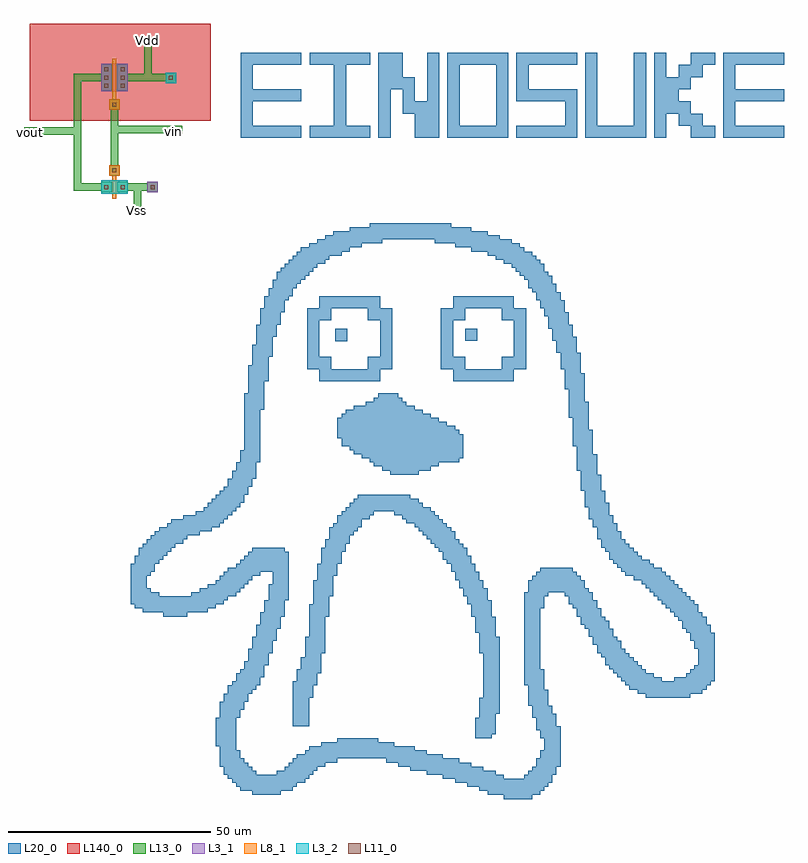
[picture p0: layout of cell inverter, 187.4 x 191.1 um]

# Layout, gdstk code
import gdstk
lib = gdstk.Library(unit=1e-6, precision=1e-07)
def R(c, l, rs):  # rectangles x0, y0, x1, y1
    for r in rs: c.add(gdstk.rectangle(r[:2], r[2:], *l))
def A(c, l, x, y, w, h, nx, ny, dx, dy):  # array of equal rectangles
    R(c, l, [(x+i*dx, y+j*dy, x+i*dx+w, y+j*dy+h) for i in range(nx) for j in range(ny)])
def P(c, l, *ps):  # polygons
    for p in ps: c.add(gdstk.Polygon(p, *l))
L3_1 = (3, 1)
L3_2 = (3, 2)
L8_1 = (8, 1)
L11_0 = (11, 0)
L13_0 = (13, 0)
L20_0 = (20, 0)
L140_0 = (140, 0)

fet_p = lib.new_cell('fet_p')
R(fet_p, L3_1, [(-3.3,-3.4,3.3,3.4)])
A(fet_p, L11_0, -2.5, -2.5, 1, 1, 1, 3, 0, 2)
A(fet_p, L11_0, 1.5, -2.5, 1, 1, 1, 3, 0, 2)
R(fet_p, L13_0, [(-3.3,-3.3,-0.7,3.3), (0.7,-3.3,3.3,3.3)])
fet_p.add(gdstk.FlexPath([(0,-4.6),(0,4.6)], 1, ends="flush", simple_path=True, layer=8, datatype=1))  # L8_1

cont_n = lib.new_cell('cont_n')
R(cont_n, L3_2, [(-1.3,-1.3,1.3,1.3)])
R(cont_n, L11_0, [(-0.5,-0.5,0.5,0.5)])
R(cont_n, L13_0, [(-1.3,-1.3,1.3,1.3)])

fet_n = lib.new_cell('fet_n')
R(fet_n, L3_2, [(-3.3,-1.7,3.3,1.7)])
R(fet_n, L11_0, [(-2.5,-0.5,-1.5,0.5), (1.5,-0.5,2.5,0.5)])
R(fet_n, L13_0, [(-3.3,-1.3,-0.7,1.3), (0.7,-1.3,3.3,1.3)])
fet_n.add(gdstk.FlexPath([(0,-2.9),(0,2.9)], 1, ends="flush", simple_path=True, layer=8, datatype=1))  # L8_1

cont_g = lib.new_cell('cont_g')
R(cont_g, L8_1, [(-1.3,-1.3,1.3,1.3)])
R(cont_g, L11_0, [(-0.5,-0.5,0.5,0.5)])
R(cont_g, L13_0, [(-1.3,-1.3,1.3,1.3)])

cont_p = lib.new_cell('cont_p')
R(cont_p, L3_1, [(-1.3,-1.3,1.3,1.3)])
R(cont_p, L11_0, [(-0.5,-0.5,0.5,0.5)])
R(cont_p, L13_0, [(-1.3,-1.3,1.3,1.3)])

svg_metal2_art = lib.new_cell('SVG_METAL2_ART')
R(svg_metal2_art, L20_0, [(-10,20,-7,23), (-21.6,41.9,-18.6,44.9), (10.5,42,13.5,45)])
P(svg_metal2_art, L20_0, [(7.5,32),(7.5,35),(4.5,35),(4.5,50),(10.5,50),(10.5,47),(7.5,47),(7.5,38),(10.5,38),(10.5,35),(19.5,35),(19.5,38),(22.5,38),(22.5,47),(19.5,47),(19.5,50),(7.5,50),(7.5,53),(22.5,53),(22.5,50),(25.5,50),(25.5,35),(22.5,35),(22.5,32)],
  [(-25.5,32),(-25.5,35),(-28.5,35),(-28.5,50),(-22.5,50),(-22.5,47),(-25.5,47),(-25.5,38),(-22.5,38),(-22.5,35),(-13.5,35),(-13.5,38),(-10.5,38),(-10.5,47),(-13.5,47),(-13.5,50),(-25.5,50),(-25.5,53),(-10.5,53),(-10.5,50),(-7.5,50),(-7.5,35),(-10.5,35),(-10.5,32)],
  [(13,-56),(13,-51),(14,-51),(14,-46),(15,-46),(15,-35),(14,-35),(14,-30),(13,-30),(13,-26),(12,-26),(12,-23),(11,-23),(11,-21),(10,-21),(10,-19),(9,-19),(9,-17),(8,-17),(8,-15),(7,-15),(7,-13),(6,-13),(6,-12),(5,-12),(5,-10),(4,-10),(4,-9),(3,-9),(3,-8),(2,-8),(2,-7),(1,-7),(1,-6),(0,-6),(0,-5),(-1,-5),(-1,-4),(-2,-4),(-2,-3),(-4,-3),(-4,-2),(-5,-2),(-5,-1),(-7,-1),(-7,0),(-12,0),(-12,-1),(-13,-1),(-13,-2),(-15,-2),(-15,-4),(-16,-4),(-16,-5),(-17,-5),(-17,-6),(-18,-6),(-18,-8),(-19,-8),(-19,-10),(-20,-10),(-20,-13),(-21,-13),(-21,-16),(-22,-16),(-22,-21),(-23,-21),(-23,-26),(-24,-26),(-24,-35),(-25,-35),(-25,-40),(-26,-40),(-26,-43),(-27,-43),(-27,-46),(-28,-46),(-28,-53),(-32,-53),(-32,-42),(-31,-42),(-31,-39),(-30,-39),(-30,-36),(-29,-36),(-29,-31),(-28,-31),(-28,-23),(-27,-23),(-27,-17),(-26,-17),(-26,-13),(-25,-13),(-25,-9),(-24,-9),(-24,-7),(-23,-7),(-23,-4),(-22,-4),(-22,-3),(-21,-3),(-21,-1),(-20,-1),(-20,0),(-19,0),(-19,1),(-18,1),(-18,2),(-17,2),(-17,3),(-16,3),(-16,4),(-3,4),(-3,3),(-1,3),(-1,2),(0,2),(0,1),(2,1),(2,0),(3,0),(3,-1),(4,-1),(4,-2),(5,-2),(5,-3),(6,-3),(6,-4),(7,-4),(7,-5),(8,-5),(8,-7),(9,-7),(9,-8),(10,-8),(10,-9),(11,-9),(11,-11),(12,-11),(12,-13),(13,-13),(13,-15),(14,-15),(14,-17),(15,-17),(15,-19),(16,-19),(16,-22),(17,-22),(17,-26),(18,-26),(18,-31),(19,-31),(19,-50),(18,-50),(18,-55),(17,-55),(17,-56)],
  [(-8,9),(-8,10),(-10,10),(-10,11),(-12,11),(-12,12),(-13,12),(-13,13),(-15,13),(-15,14),(-17,14),(-17,15),(-18,15),(-18,16),(-20,16),(-20,18),(-21,18),(-21,23),(-10,23),(-10,20),(-7,20),(-7,23),(-20,23),(-20,24),(-19,24),(-19,25),(-17,25),(-17,26),(-14,26),(-14,27),(-12,27),(-12,28),(-11,28),(-11,29),(-6,29),(-6,28),(-5,28),(-5,27),(-4,27),(-4,26),(-2,26),(-2,25),(0,25),(0,24),(2,24),(2,23),(4,23),(4,22),(6,22),(6,21),(8,21),(8,20),(9,20),(9,19),(10,19),(10,13),(9,13),(9,12),(4,12),(4,11),(2,11),(2,10),(-1,10),(-1,9)],
  [(20,-71),(20,-70),(16,-70),(16,-69),(14,-69),(14,-68),(11,-68),(11,-67),(8,-67),(8,-66),(5,-66),(5,-65),(1,-65),(1,-64),(-3,-64),(-3,-63),(-6,-63),(-6,-62),(-9,-62),(-9,-61),(-21,-61),(-21,-62),(-24,-62),(-24,-63),(-26,-63),(-26,-64),(-27,-64),(-27,-65),(-28,-65),(-28,-66),(-29,-66),(-29,-67),(-31,-67),(-31,-68),(-32,-68),(-32,-69),(-35,-69),(-35,-70),(-42,-70),(-42,-69),(-45,-69),(-45,-68),(-46,-68),(-46,-67),(-47,-67),(-47,-66),(-48,-66),(-48,-65),(-49,-65),(-49,-63),(-50,-63),(-50,-58),(-51,-58),(-51,-51),(-50,-51),(-50,-47),(-49,-47),(-49,-45),(-48,-45),(-48,-43),(-47,-43),(-47,-42),(-46,-42),(-46,-40),(-45,-40),(-45,-39),(-44,-39),(-44,-37),(-43,-37),(-43,-34),(-42,-34),(-42,-31),(-41,-31),(-41,-28),(-40,-28),(-40,-25),(-39,-25),(-39,-22),(-38,-22),(-38,-18),(-37,-18),(-37,-15),(-40,-15),(-40,-16),(-42,-16),(-42,-17),(-43,-17),(-43,-18),(-44,-18),(-44,-19),(-45,-19),(-45,-20),(-46,-20),(-46,-21),(-48,-21),(-48,-22),(-49,-22),(-49,-23),(-51,-23),(-51,-24),(-53,-24),(-53,-25),(-58,-25),(-58,-26),(-64,-26),(-64,-25),(-69,-25),(-69,-24),(-71,-24),(-71,-23),(-72,-23),(-72,-13),(-71,-13),(-71,-11),(-70,-11),(-70,-9),(-69,-9),(-69,-8),(-68,-8),(-68,-7),(-67,-7),(-67,-6),(-66,-6),(-66,-5),(-65,-5),(-65,-4),(-63,-4),(-63,-3),(-62,-3),(-62,-2),(-59,-2),(-59,-1),(-56,-1),(-56,0),(-54,0),(-54,1),(-53,1),(-53,2),(-52,2),(-52,3),(-51,3),(-51,4),(-50,4),(-50,5),(-49,5),(-49,6),(-48,6),(-48,8),(-47,8),(-47,10),(-46,10),(-46,12),(-45,12),(-45,15),(-44,15),(-44,29),(-43,29),(-43,36),(-42,36),(-42,41),(-41,41),(-41,46),(-40,46),(-40,50),(-39,50),(-39,53),(-38,53),(-38,55),(-37,55),(-37,57),(-36,57),(-36,59),(-35,59),(-35,60),(-34,60),(-34,61),(-33,61),(-33,62),(-32,62),(-32,63),(-31,63),(-31,64),(-30,64),(-30,65),(-28,65),(-28,66),(-26,66),(-26,67),(-10,67),(-10,66),(-15,66),(-15,65),(-18,65),(-18,64),(-20,64),(-20,63),(-23,63),(-23,62),(-24,62),(-24,61),(-26,61),(-26,60),(-27,60),(-27,59),(-28,59),(-28,58),(-29,58),(-29,57),(-30,57),(-30,56),(-31,56),(-31,55),(-32,55),(-32,53),(-33,53),(-33,52),(-34,52),(-34,49),(-35,49),(-35,46),(-36,46),(-36,43),(-37,43),(-37,38),(-38,38),(-38,32),(-39,32),(-39,25),(-40,25),(-40,12),(-41,12),(-41,8),(-42,8),(-42,6),(-43,6),(-43,4),(-44,4),(-44,2),(-45,2),(-45,1),(-46,1),(-46,0),(-47,0),(-47,-1),(-48,-1),(-48,-2),(-49,-2),(-49,-3),(-50,-3),(-50,-4),(-52,-4),(-52,-5),(-55,-5),(-55,-6),(-58,-6),(-58,-7),(-59,-7),(-59,-8),(-61,-8),(-61,-9),(-62,-9),(-62,-10),(-63,-10),(-63,-11),(-64,-11),(-64,-12),(-65,-12),(-65,-13),(-66,-13),(-66,-15),(-67,-15),(-67,-16),(-68,-16),(-68,-19),(-67,-19),(-67,-20),(-65,-20),(-65,-21),(-57,-21),(-57,-20),(-55,-20),(-55,-19),(-53,-19),(-53,-18),(-51,-18),(-51,-17),(-50,-17),(-50,-16),(-49,-16),(-49,-15),(-48,-15),(-48,-14),(-46,-14),(-46,-13),(-45,-13),(-45,-12),(-44,-12),(-44,-11),(-43,-11),(-43,-10),(-42,-10),(-42,-9),(-34,-9),(-34,-10),(-33,-10),(-33,-22),(-34,-22),(-34,-26),(-35,-26),(-35,-29),(-36,-29),(-36,-32),(-37,-32),(-37,-35),(-38,-35),(-38,-38),(-39,-38),(-39,-41),(-40,-41),(-40,-43),(-41,-43),(-41,-44),(-42,-44),(-42,-45),(-43,-45),(-43,-47),(-44,-47),(-44,-49),(-45,-49),(-45,-51),(-46,-51),(-46,-59),(-45,-59),(-45,-61),(-44,-61),(-44,-62),(-43,-62),(-43,-63),(-42,-63),(-42,-64),(-41,-64),(-41,-65),(-36,-65),(-36,-64),(-34,-64),(-34,-63),(-33,-63),(-33,-62),(-32,-62),(-32,-61),(-31,-61),(-31,-60),(-29,-60),(-29,-59),(-28,-59),(-28,-58),(-25,-58),(-25,-57),(-21,-57),(-21,-56),(-11,-56),(-11,-57),(-7,-57),(-7,-58),(-2,-58),(-2,-59),(1,-59),(1,-60),(5,-60),(5,-61),(9,-61),(9,-62),(12,-62),(12,-63),(15,-63),(15,-64),(18,-64),(18,-65),(20,-65),(20,-66),(25,-66),(25,-65),(26,-65),(26,-64),(27,-64),(27,-63),(28,-63),(28,-61),(29,-61),(29,-59),(30,-59),(30,-56),(29,-56),(29,-54),(28,-54),(28,-51),(27,-51),(27,-48),(26,-48),(26,-43),(25,-43),(25,-20),(26,-20),(26,-17),(27,-17),(27,-16),(28,-16),(28,-15),(29,-15),(29,-14),(37,-14),(37,-15),(38,-15),(38,-16),(39,-16),(39,-17),(40,-17),(40,-19),(41,-19),(41,-20),(42,-20),(42,-22),(43,-22),(43,-24),(44,-24),(44,-26),(45,-26),(45,-27),(46,-27),(46,-29),(47,-29),(47,-31),(48,-31),(48,-32),(49,-32),(49,-34),(50,-34),(50,-35),(51,-35),(51,-36),(52,-36),(52,-37),(53,-37),(53,-38),(54,-38),(54,-39),(55,-39),(55,-40),(57,-40),(57,-41),(59,-41),(59,-42),(62,-42),(62,-41),(65,-41),(65,-40),(66,-40),(66,-39),(67,-39),(67,-38),(68,-38),(68,-34),(67,-34),(67,-32),(66,-32),(66,-30),(65,-30),(65,-29),(64,-29),(64,-27),(63,-27),(63,-26),(62,-26),(62,-25),(61,-25),(61,-24),(60,-24),(60,-23),(59,-23),(59,-22),(58,-22),(58,-21),(57,-21),(57,-20),(56,-20),(56,-19),(55,-19),(55,-18),(54,-18),(54,-17),(52,-17),(52,-16),(50,-16),(50,-15),(49,-15),(49,-14),(48,-14),(48,-13),(47,-13),(47,-12),(46,-12),(46,-10),(45,-10),(45,-9),(44,-9),(44,-7),(43,-7),(43,-4),(42,-4),(42,-2),(41,-2),(41,1),(40,1),(40,5),(39,5),(39,10),(38,10),(38,16),(37,16),(37,23),(36,23),(36,30),(35,30),(35,35),(34,35),(34,39),(33,39),(33,42),(32,42),(32,45),(31,45),(31,48),(30,48),(30,50),(29,50),(29,52),(28,52),(28,54),(27,54),(27,55),(26,55),(26,57),(25,57),(25,58),(24,58),(24,59),(23,59),(23,60),(22,60),(22,61),(20,61),(20,62),(18,62),(18,63),(16,63),(16,64),(12,64),(12,65),(8,65),(8,66),(3,66),(3,67),(-24,67),(-24,68),(-22,68),(-22,69),(-18,69),(-18,70),(-13,70),(-13,71),(7,71),(7,70),(12,70),(12,69),(16,69),(16,68),(19,68),(19,67),(22,67),(22,66),(24,66),(24,65),(25,65),(25,64),(27,64),(27,63),(28,63),(28,62),(29,62),(29,61),(30,61),(30,59),(31,59),(31,58),(32,58),(32,56),(33,56),(33,54),(34,54),(34,52),(35,52),(35,49),(36,49),(36,46),(37,46),(37,43),(38,43),(38,39),(39,39),(39,34),(40,34),(40,27),(41,27),(41,20),(42,20),(42,14),(43,14),(43,9),(44,9),(44,5),(45,5),(45,2),(46,2),(46,-1),(47,-1),(47,-3),(48,-3),(48,-5),(49,-5),(49,-7),(50,-7),(50,-8),(51,-8),(51,-9),(52,-9),(52,-10),(53,-10),(53,-11),(54,-11),(54,-12),(56,-12),(56,-13),(57,-13),(57,-14),(59,-14),(59,-15),(60,-15),(60,-16),(61,-16),(61,-17),(62,-17),(62,-18),(63,-18),(63,-19),(64,-19),(64,-20),(65,-20),(65,-21),(66,-21),(66,-22),(67,-22),(67,-23),(68,-23),(68,-25),(69,-25),(69,-26),(70,-26),(70,-28),(71,-28),(71,-30),(72,-30),(72,-42),(71,-42),(71,-43),(70,-43),(70,-44),(69,-44),(69,-45),(66,-45),(66,-46),(55,-46),(55,-45),(53,-45),(53,-44),(51,-44),(51,-43),(50,-43),(50,-42),(49,-42),(49,-41),(48,-41),(48,-40),(47,-40),(47,-39),(46,-39),(46,-38),(45,-38),(45,-36),(44,-36),(44,-35),(43,-35),(43,-33),(42,-33),(42,-31),(41,-31),(41,-29),(40,-29),(40,-28),(39,-28),(39,-26),(38,-26),(38,-24),(37,-24),(37,-23),(36,-23),(36,-21),(35,-21),(35,-20),(31,-20),(31,-21),(30,-21),(30,-24),(29,-24),(29,-39),(30,-39),(30,-44),(31,-44),(31,-48),(32,-48),(32,-50),(33,-50),(33,-53),(34,-53),(34,-63),(33,-63),(33,-65),(32,-65),(32,-67),(31,-67),(31,-68),(30,-68),(30,-69),(29,-69),(29,-70),(27,-70),(27,-71)])

einosuke_m2_text = lib.new_cell('EINOSUKE_M2_TEXT')
P(einosuke_m2_text, L20_0, [(0,0),(0,21),(15,21),(15,18),(3,18),(3,12),(15,12),(15,9),(3,9),(3,3),(15,3),(15,0)],
  [(17,0),(17,3),(23,3),(23,18),(17,18),(17,21),(32,21),(32,18),(26,18),(26,3),(32,3),(32,0)],
  [(34,0),(34,21),(40,21),(40,15),(43,15),(43,9),(46,9),(46,21),(49,21),(49,0),(43,0),(43,6),(40,6),(40,12),(37,12),(37,0)],
  [(51,0),(51,18),(54,18),(54,3),(63,3),(63,18),(51,18),(51,21),(66,21),(66,0)],
  [(68,0),(68,3),(80,3),(80,9),(68,9),(68,21),(83,21),(83,18),(71,18),(71,12),(83,12),(83,0)],
  [(85,0),(85,21),(88,21),(88,3),(97,3),(97,21),(100,21),(100,0)],
  [(102,0),(102,21),(105,21),(105,15),(108,15),(108,18),(111,18),(111,21),(117,21),(117,18),(114,18),(114,15),(111,15),(111,12),(108,12),(108,9),(111,9),(111,6),(114,6),(114,3),(117,3),(117,0),(111,0),(111,3),(108,3),(108,6),(105,6),(105,0)],
  [(119,0),(119,21),(134,21),(134,18),(122,18),(122,12),(134,12),(134,9),(122,9),(122,3),(134,3),(134,0)])

inverter = lib.new_cell('inverter')
R(inverter, L8_1, [(8.3,-5.7,9.3,-4.8)])
R(inverter, L140_0, [(-12.1,-10.8,32.6,13)])
inverter.add(gdstk.FlexPath([(6.7,-0.2),(-0.3,-0.2),(-0.3,-27.2),(6.4,-27.2),(6.4,-27.2),(6.4,-27.2)], 1.8, ends="flush", simple_path=True, layer=13, datatype=0))  # L13_0
inverter.add(gdstk.FlexPath([(-0.6,-13.4),(-13.5,-13.4)], 1.8, ends="flush", simple_path=True, layer=13, datatype=0))  # L13_0
inverter.add(gdstk.FlexPath([(18.2,-27.2),(10.7,-27.2)], 1.8, ends="flush", simple_path=True, layer=13, datatype=0))  # L13_0
inverter.add(gdstk.FlexPath([(14.5,-27.2),(14.5,-33.8)], 1.8, ends="flush", simple_path=True, layer=13, datatype=0))  # L13_0
inverter.add(gdstk.FlexPath([(11.4,-0.2),(22,-0.2)], 1.8, ends="flush", simple_path=True, layer=13, datatype=0))  # L13_0
inverter.add(gdstk.FlexPath([(17.1,-0.2),(17.1,9.7)], 1.8, ends="flush", simple_path=True, layer=13, datatype=0))  # L13_0
inverter.add(gdstk.FlexPath([(8.8,-13),(25.5,-13)], 1.8, ends="flush", simple_path=True, layer=13, datatype=0))  # L13_0
inverter.add(gdstk.FlexPath([(8.8,-23.3),(8.8,-7.6)], 1.8, ends="flush", simple_path=True, layer=13, datatype=0))  # L13_0
inverter.add(gdstk.Reference(fet_p, (8.8,-0.2)))
inverter.add(gdstk.Reference(cont_n, (22.7,-0.3)))
inverter.add(gdstk.Reference(fet_n, (8.8,-27.2)))
inverter.add(gdstk.Reference(cont_g, (8.8,-23.1)))
inverter.add(gdstk.Reference(cont_p, (18.2,-27.2)))
inverter.add(gdstk.Reference(cont_g, (8.8,-6.9)))
inverter.add(gdstk.Reference(svg_metal2_art, (84.8,-107.1)))
inverter.add(gdstk.Reference(einosuke_m2_text, (39.9,-15.1)))
inverter.add(gdstk.Label('Vss', (14.3,-33), layer=48, texttype=0))
inverter.add(gdstk.Label('Vdd', (16.9,9), layer=48, texttype=0))
inverter.add(gdstk.Label('vin', (23.3,-13.6), layer=48, texttype=0))
inverter.add(gdstk.Label('vout', (-12,-13.7), layer=48, texttype=0))

lib.write_gds('inverter.gds')
